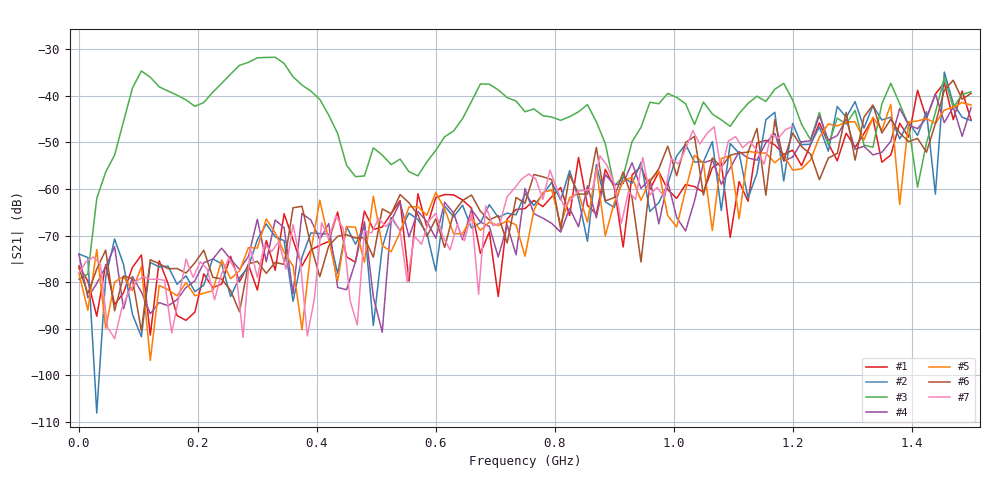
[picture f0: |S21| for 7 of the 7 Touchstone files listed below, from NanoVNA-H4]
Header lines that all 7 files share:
# HZ S RI R 50
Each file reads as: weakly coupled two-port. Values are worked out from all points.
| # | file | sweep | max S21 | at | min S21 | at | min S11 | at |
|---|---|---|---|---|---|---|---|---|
| 1 | calnanoshr15.s2p | 30 kHz to 1.5 GHz | -37.22 dB | 1.455 GHz | -91.4 dB | 120 MHz | -1.8 dB | 1.47 GHz |
| 2 | calopennano15.s2p | 30 kHz to 1.5 GHz | -34.91 dB | 1.455 GHz | -108.1 dB | 30.03 MHz | -2.4 dB | 1.47 GHz |
| 3 | Dual_Antenna.s2p | 30 kHz to 1.5 GHz | -31.73 dB | 330 MHz | -79.4 dB | 30 kHz | -31.1 dB | 1.005 GHz |
| 4 | loadcalnano15.s2p | 30 kHz to 1.5 GHz | -39.59 dB | 1.44 GHz | -90.8 dB | 510 MHz | -85.0 dB | 120 MHz |
| 5 | LoadNano15.s2p | 30 kHz to 1.5 GHz | -41.44 dB | 1.485 GHz | -96.8 dB | 120 MHz | -24.7 dB | 15.03 MHz |
| 6 | OpenNano15.s2p | 30 kHz to 1.5 GHz | -36.67 dB | 1.47 GHz | -90.5 dB | 105 MHz | -8.6 dB | 1.485 GHz |
| 7 | Splitter_Uncal.s2p | 50 kHz to 1.2 GHz | -46.58 dB | 1.2 GHz | -92.1 dB | 60.05 MHz | -7.4 dB | 1.092 GHz |
